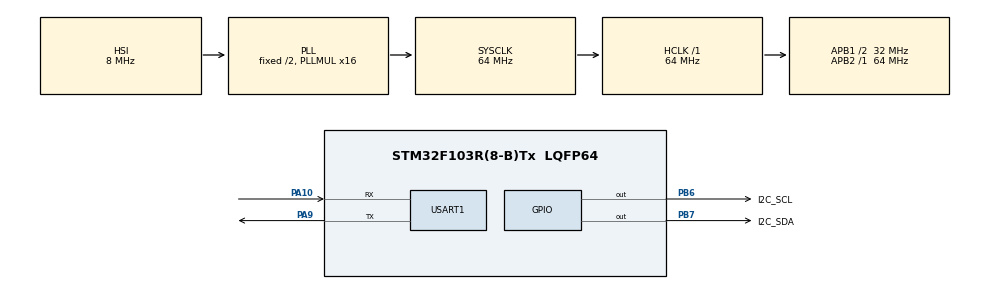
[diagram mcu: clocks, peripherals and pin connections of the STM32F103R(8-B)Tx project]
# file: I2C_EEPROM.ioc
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Mcu.Family=STM32F1
Mcu.Name=STM32F103R(8-B)Tx
Mcu.Package=LQFP64
NVIC.PriorityGroup=NVIC_PRIORITYGROUP_4
NVIC.USART1_IRQn=true\:0\:0\:false\:false\:true\:true\:true\:true
PA10.Mode=Asynchronous
PA10.Signal=USART1_RX
PA13.Mode=Serial_Wire
PA13.Signal=SYS_JTMS-SWDIO
PA14.Mode=Serial_Wire
PA14.Signal=SYS_JTCK-SWCLK
PA9.Mode=Asynchronous
PA9.Signal=USART1_TX
PB6.GPIO_Label=I2C_SCL
PB6.Signal=GPIO_Output
PB7.GPIO_Label=I2C_SDA
PB7.Signal=GPIO_Output
ProjectManager.HeapSize=0x200
ProjectManager.StackSize=0x400
ProjectManager.TargetToolchain=MDK-ARM V5.32
RCC.AHBFreq_Value=64000000
RCC.APB1CLKDivider=RCC_HCLK_DIV2
RCC.APB1Freq_Value=32000000
RCC.APB1TimFreq_Value=64000000
RCC.APB2Freq_Value=64000000
RCC.APB2TimFreq_Value=64000000
RCC.HCLKFreq_Value=64000000
RCC.PLLMUL=RCC_PLL_MUL16
RCC.SYSCLKFreq_VALUE=64000000
RCC.SYSCLKSource=RCC_SYSCLKSOURCE_PLLCLK
RCC.USBFreq_Value=64000000
USART1.VirtualMode=VM_ASYNC
board=custom

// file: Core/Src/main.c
/* USER CODE BEGIN Header */
/**
  ******************************************************************************
  * @file           : main.c
  * @brief          : Main program body
  ******************************************************************************
  * @attention
  *
  * Copyright (c) 2022 STMicroelectronics.
  * All rights reserved.
  *
  * This software is licensed under terms that can be found in the LICENSE file
  * in the root directory of this software component.
  * If no LICENSE file comes with this software, it is provided AS-IS.
  *
  ******************************************************************************
  */
/* USER CODE END Header */
#include "main.h"
#include "usart.h"
#include "gpio.h"

/* USER CODE BEGIN Includes */
#include "stdio.h"
#include <string.h>
#include "delay.h"
#include "24cxx.h"
/* USER CODE END Includes */

void SystemClock_Config(void);

int main(void)
{

  /* MCU Configuration--------------------------------------------------------*/

  /* Reset of all peripherals, Initializes the Flash interface and the Systick. */
  HAL_Init();

  /* Configure the system clock */
  SystemClock_Config();

  /* Initialize all configured peripherals */
  MX_GPIO_Init();
  MX_USART1_UART_Init();
  /* USER CODE BEGIN 2 */
	HAL_GPIO_WritePin(GPIOB, GPIO_PIN_6|GPIO_PIN_7, GPIO_PIN_SET);
	HAL_UART_Receive_IT(&huart1, (uint8_t *)&aRxBuffer, 1);
  /* USER CODE END 2 */

  /* Infinite loop */
  /* USER CODE BEGIN WHILE */
	while (AT24CXX_Check()) //检测不到24c02
    {
        printf("24C02 Check Failed!\r\n");
        HAL_Delay(500);
        printf("Please Check!\r\n");
        HAL_Delay(500);
    }
  printf("24C02 Ready!\r\n");//显示提示信息

  while (1)
  {
			if(RxBuffer[0]==0x11 && RxBuffer[Uart1_Rx_Cnt-3]==0x11){
				uint8_t TEXT_Buffer[2];
				uint8_t datatemp[2];
					TEXT_Buffer[0]=RxBuffer[1];//a
					TEXT_Buffer[1]=RxBuffer[2];//b

				AT24CXX_Write(0, (uint8_t *)TEXT_Buffer, sizeof(TEXT_Buffer));
				AT24CXX_Read(0, datatemp, sizeof(TEXT_Buffer));
				//printf("The Data Readed Is:\r\n");//提示传送完成
				//printf("%s\r\n", datatemp); //显示读到的字符串

				for(int i=0;i<5;i++){
					int y;
					y=datatemp[0]*i+datatemp[1];
					printf("result:%d\r\n",y);
				}

			Uart1_Rx_Cnt = 0;
			memset(RxBuffer,0x00,sizeof(RxBuffer)); //清空数组
			}
    /* USER CODE END WHILE */

  }
}

void SystemClock_Config(void)
{
  RCC_OscInitTypeDef RCC_OscInitStruct = {0};
  RCC_ClkInitTypeDef RCC_ClkInitStruct = {0};

  /** Initializes the RCC Oscillators according to the specified parameters
  * in the RCC_OscInitTypeDef structure.
  */
  RCC_OscInitStruct.OscillatorType = RCC_OSCILLATORTYPE_HSI;
  RCC_OscInitStruct.HSIState = RCC_HSI_ON;
  RCC_OscInitStruct.HSICalibrationValue = RCC_HSICALIBRATION_DEFAULT;
  RCC_OscInitStruct.PLL.PLLState = RCC_PLL_ON;
  RCC_OscInitStruct.PLL.PLLSource = RCC_PLLSOURCE_HSI_DIV2;
  RCC_OscInitStruct.PLL.PLLMUL = RCC_PLL_MUL16;
  if (HAL_RCC_OscConfig(&RCC_OscInitStruct) != HAL_OK)
  {
    Error_Handler();
  }

  /** Initializes the CPU, AHB and APB buses clocks
  */
  RCC_ClkInitStruct.ClockType = RCC_CLOCKTYPE_HCLK|RCC_CLOCKTYPE_SYSCLK
                              |RCC_CLOCKTYPE_PCLK1|RCC_CLOCKTYPE_PCLK2;
  RCC_ClkInitStruct.SYSCLKSource = RCC_SYSCLKSOURCE_PLLCLK;
  RCC_ClkInitStruct.AHBCLKDivider = RCC_SYSCLK_DIV1;
  RCC_ClkInitStruct.APB1CLKDivider = RCC_HCLK_DIV2;
  RCC_ClkInitStruct.APB2CLKDivider = RCC_HCLK_DIV1;

  if (HAL_RCC_ClockConfig(&RCC_ClkInitStruct, FLASH_LATENCY_2) != HAL_OK)
  {
    Error_Handler();
  }
}

void Error_Handler(void)
{
  __disable_irq();
  while (1)
  {
  }
}
